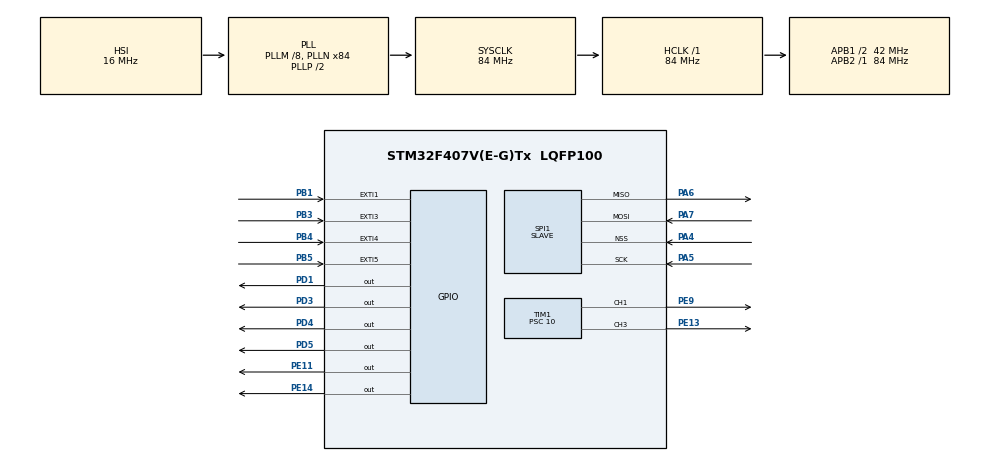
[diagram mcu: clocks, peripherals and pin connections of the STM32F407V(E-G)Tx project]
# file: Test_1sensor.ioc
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Dma.Request0=SPI1_RX
Dma.SPI1_RX.0.Direction=DMA_PERIPH_TO_MEMORY
Dma.SPI1_RX.0.FIFOMode=DMA_FIFOMODE_DISABLE
Dma.SPI1_RX.0.Instance=DMA2_Stream0
Dma.SPI1_RX.0.MemDataAlignment=DMA_MDATAALIGN_BYTE
Dma.SPI1_RX.0.MemInc=DMA_MINC_ENABLE
Dma.SPI1_RX.0.Mode=DMA_CIRCULAR
Dma.SPI1_RX.0.PeriphDataAlignment=DMA_PDATAALIGN_BYTE
Dma.SPI1_RX.0.PeriphInc=DMA_PINC_DISABLE
Dma.SPI1_RX.0.Priority=DMA_PRIORITY_LOW
Mcu.Family=STM32F4
Mcu.Name=STM32F407V(E-G)Tx
Mcu.Package=LQFP100
NVIC.DMA2_Stream0_IRQn=true\:0\:0\:false\:false\:true\:false\:true
NVIC.EXTI1_IRQn=true\:0\:0\:false\:false\:true\:true\:true
NVIC.EXTI3_IRQn=true\:0\:0\:false\:false\:true\:true\:true
NVIC.EXTI4_IRQn=true\:0\:0\:false\:false\:true\:true\:true
NVIC.EXTI9_5_IRQn=true\:0\:0\:false\:false\:true\:true\:true
NVIC.PriorityGroup=NVIC_PRIORITYGROUP_4
NVIC.SPI1_IRQn=true\:0\:0\:false\:false\:true\:true\:true
NVIC.TIM2_IRQn=true\:0\:0\:false\:false\:true\:true\:true
NVIC.TIM3_IRQn=true\:0\:0\:false\:false\:true\:true\:true
NVIC.TIM4_IRQn=true\:0\:0\:false\:false\:true\:true\:true
PA13.Mode=Serial_Wire
PA13.Signal=SYS_JTMS-SWDIO
PA14.Mode=Serial_Wire
PA14.Signal=SYS_JTCK-SWCLK
PA4.Mode=NSS_Signal_Hard_Input
PA4.Signal=SPI1_NSS
PA5.Mode=Full_Duplex_Slave
PA5.Signal=SPI1_SCK
PA6.Mode=Full_Duplex_Slave
PA6.Signal=SPI1_MISO
PA7.Mode=Full_Duplex_Slave
PA7.Signal=SPI1_MOSI
PB1.GPIO_ModeDefaultEXTI=GPIO_MODE_IT_RISING_FALLING
PB1.Signal=GPXTI1
PB3.GPIO_ModeDefaultEXTI=GPIO_MODE_IT_RISING_FALLING
PB3.Signal=GPXTI3
PB4.GPIO_ModeDefaultEXTI=GPIO_MODE_IT_RISING_FALLING
PB4.Signal=GPXTI4
PB5.GPIO_ModeDefaultEXTI=GPIO_MODE_IT_RISING_FALLING
PB5.Signal=GPXTI5
PD1.Signal=GPIO_Output
PD3.Signal=GPIO_Output
PD4.Signal=GPIO_Output
PD5.Signal=GPIO_Output
PE11.Signal=GPIO_Output
PE13.Signal=S_TIM1_CH3
PE14.Signal=GPIO_Output
PE9.Signal=S_TIM1_CH1
ProjectManager.HeapSize=0x200
ProjectManager.StackSize=0x400
ProjectManager.TargetToolchain=MDK-ARM V5
RCC.48MHZClocksFreq_Value=42000000
RCC.AHBFreq_Value=84000000
RCC.APB1CLKDivider=RCC_HCLK_DIV2
RCC.APB1Freq_Value=42000000
RCC.APB1TimFreq_Value=84000000
RCC.APB2Freq_Value=84000000
RCC.APB2TimFreq_Value=84000000
RCC.CortexFreq_Value=84000000
RCC.HCLKFreq_Value=84000000
RCC.HSE_VALUE=25000000
RCC.HSI_VALUE=16000000
RCC.LSE_VALUE=32768
RCC.PLLM=8
RCC.PLLN=84
RCC.SYSCLKFreq_VALUE=84000000
RCC.SYSCLKSource=RCC_SYSCLKSOURCE_PLLCLK
RCC.VCOOutputFreq_Value=168000000
SH.S_TIM1_CH1.0=TIM1_CH1,PWM Generation1 CH1
SH.S_TIM1_CH3.0=TIM1_CH3,PWM Generation3 CH3
SPI1.Direction=SPI_DIRECTION_2LINES
SPI1.Mode=SPI_MODE_SLAVE
SPI1.VirtualNSS=VM_NSSHARD
SPI1.VirtualType=VM_SLAVE
TIM1.Channel-PWM\ Generation1\ CH1=TIM_CHANNEL_1
TIM1.Channel-PWM\ Generation3\ CH3=TIM_CHANNEL_3
TIM1.Period=399
TIM1.Prescaler=10
TIM2.Period=19
TIM2.Prescaler=41
TIM3.Period=999
TIM3.Prescaler=8399
TIM4.Period=1
TIM4.Prescaler=41
VP_TIM1_VS_ClockSourceINT.Mode=Internal
VP_TIM2_VS_ClockSourceINT.Mode=Internal
VP_TIM3_VS_ClockSourceINT.Mode=Internal
VP_TIM4_VS_ClockSourceINT.Mode=Internal
board=custom

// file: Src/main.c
/* USER CODE BEGIN Header */
/**
  ******************************************************************************
  * @file           : main.c
  * @brief          : Main program body
  ******************************************************************************
  * @attention
  *
  * <h2><center>&copy; Copyright (c) 2019 STMicroelectronics.
  * All rights reserved.</center></h2>
  *
  * This software component is licensed by ST under BSD 3-Clause license,
  * the "License"; You may not use this file except in compliance with the
  * License. You may obtain a copy of the License at:
  *                        opensource.org/licenses/BSD-3-Clause
  *
  ******************************************************************************
  */
/* USER CODE END Header */

#include "main.h"

SPI_HandleTypeDef hspi1;
DMA_HandleTypeDef hdma_spi1_rx;

TIM_HandleTypeDef htim1;
TIM_HandleTypeDef htim2;
TIM_HandleTypeDef htim3;
TIM_HandleTypeDef htim4;

/* USER CODE BEGIN PV */
volatile unsigned int time_sensor1=0, time_sensor2=0, time_sensor3=0, time_sensor4=0; //timer for echo pulse from sensors
volatile unsigned int echo_sensor1=0, echo_sensor2=0, echo_sensor3=0, echo_sensor4=0;
volatile unsigned int en_sensor1=0, en_sensor2=0, en_sensor3=0, en_sensor4=0;
volatile float distance1=0, distance2=0, distance3=0, distance4=0;
volatile float alpha=0;
volatile double current_speed_left=0, current_speed_right=0;
unsigned int TIM_Period=399;
unsigned int upper_limit_sensor=1;
volatile unsigned int count_spin=0,count_lost=0,count_track=0;
volatile int error_Position=0,error_Distance=0;
uint8_t receivebuffer[7],isTracking;
volatile int pwm_L=0,pwm_R=0;

/* USER CODE END PV */

void SystemClock_Config(void);
static void MX_GPIO_Init(void);
static void MX_DMA_Init(void);
static void MX_TIM2_Init(void);
static void MX_TIM3_Init(void);
static void MX_TIM4_Init(void);
static void MX_SPI1_Init(void);
static void MX_TIM1_Init(void);
/* USER CODE BEGIN PFP */
//Fuzzy--------------------------------------------------------------------------
double mftrap(double x,double L,double C1, double C2, double R){
	double y;
	if (x<L)
		y=0;
	else if (x<C1)
		y=(x-L)/(C1-L);
	else if (x<C2)
		y=1;
	else if (x<R)
		y=(R-x)/(R-C2);
	else
		y=0;
	return y;
}

double max(double num1, double num2)
{
    return (num1 > num2 ) ? num1 : num2;
}

//Motor Value--------------------------------------------------------------------
//Left Motor
double Defuzzification_Obstacle_L(double alpha,double v)
{
	double alpha_NB,alpha_NS,alpha_ZE,alpha_PS,alpha_PB,v_LO,v_ME,v_HI;
	alpha_NB=mftrap(alpha,-60,-60,-40,-15);
	alpha_NS=mftrap(alpha,-40,-15,-15,0);
	alpha_ZE=mftrap(alpha,-15,0,0,15);
	alpha_PS=mftrap(alpha,0,15,15,40);
	alpha_PB=mftrap(alpha,15,40,60,60);

	v_LO=mftrap(v,-100,-100,60,75);
	v_ME=mftrap(v,60,75,75,90);
	v_HI=mftrap(v,75,90,100,100);

	double dv_NB=-180;
	double dv_NM=-110;
	double dv_NS=-40;
	double dv_ZE=0;
	double dv_PS=20;
	double dv_PM=70;
	double dv_PB=120;

	//RULES
	double beta1=alpha_NB*v_LO; //PB
	double beta2=alpha_NB*v_ME; //PM
	double beta3=alpha_NB*v_HI; //PS
	double beta4=alpha_NS*v_LO; //PM
	double beta5=alpha_NS*v_ME; //PS
	double beta6=alpha_NS*v_HI; //ZE
	double beta7=alpha_ZE*v_LO; //PS
	double beta8=alpha_ZE*v_ME; //ZE
	double beta9=alpha_ZE*v_HI; //NS
	double beta10=alpha_PS*v_LO; //ZE
	double beta11=alpha_PS*v_ME; //NS
	double beta12=alpha_PS*v_HI; //NM
	double beta13=alpha_PB*v_LO; //NS
	double beta14=alpha_PB*v_ME; //NM
	double beta15=alpha_PB*v_HI; //NB

	double beta_PB=beta1;
	double beta_PM=max(beta2,beta4);
	double beta_PS=max(max(beta3,beta5),beta7);
	double beta_ZE=max(max(beta6,beta8),beta10);
	double beta_NS=max(max(beta9,beta11),beta13);
	double beta_NM=max(beta12,beta14);
	double beta_NB=beta15;

	double sumBeta=beta_NB+beta_NM+beta_NS+beta_ZE+beta_PS+beta_PM+beta_PB;
	double dv=(dv_NB*beta_NB+dv_NM*beta_NM+dv_NS*beta_NS+dv_ZE*beta_ZE+dv_PS*beta_PS+dv_PM*beta_PB+dv_PB*beta_PB)/sumBeta;
	return dv;
}

double Defuzzification_Track_L(double ePosition,double eDistance)
{
	double eP_NB,eP_NS,eP_ZE,eP_PS,eP_PB,eD_NE,eD_ZE,eD_PO;
//	eP_NB=mftrap(ePosition,-180,-180,-100,-50);
//	eP_NS=mftrap(ePosition,-100,-50,-50,0);
//	eP_ZE=mftrap(ePosition,-50,0,0,50);
//	eP_PS=mftrap(ePosition,0,50,50,100);
//	eP_PB=mftrap(ePosition,50,100,180,180);

	eP_NB=mftrap(ePosition,-180,-180,-150,-120);
	eP_NS=mftrap(ePosition,-150,-120,-120,0);
	eP_ZE=mftrap(ePosition,-120,0,0,120);
	eP_PS=mftrap(ePosition,0,120,120,150);
	eP_PB=mftrap(ePosition,120,150,180,180);

	eD_NE=mftrap(eDistance,-100,-100,-50,0);
	eD_ZE=mftrap(eDistance,-50,0,0,50);
	eD_PO=mftrap(eDistance,0,50,100,100);

	double dv_NB=-3;
	double dv_NM=-2;
	double dv_NS=-1;
	double dv_ZE=0;
	double dv_PS=5;
	double dv_PM=10;
	double dv_PB=15;

	//RULES
	double beta1=eP_NB*eD_NE; //PB
	double beta2=eP_NB*eD_ZE; //PM
	double beta3=eP_NB*eD_PO; //PS
	double beta4=eP_NS*eD_NE; //PM
	double beta5=eP_NS*eD_ZE; //PS
	double beta6=eP_NS*eD_PO; //ZE
	double beta7=eP_ZE*eD_NE; //PS
	double beta8=eP_ZE*eD_ZE; //ZE
	double beta9=eP_ZE*eD_PO; //NS
	double beta10=eP_PS*eD_NE; //ZE
	double beta11=eP_PS*eD_ZE; //NS
	double beta12=eP_PS*eD_PO; //NM
	double beta13=eP_PB*eD_NE; //NS
	double beta14=eP_PB*eD_ZE; //NM
	double beta15=eP_PB*eD_PO; //NB

	double beta_PB=beta1;
	double beta_PM=max(beta2,beta4);
	double beta_PS=max(max(beta3,beta5),beta7);
	double beta_ZE=max(max(beta6,beta8),beta10);
	double beta_NS=max(max(beta9,beta11),beta13);
	double beta_NM=max(beta12,beta14);
	double beta_NB=beta15;

	double sumBeta=beta_NB+beta_NM+beta_NS+beta_ZE+beta_PS+beta_PM+beta_PB;
	double dv=(dv_NB*beta_NB+dv_NM*beta_NM+dv_NS*beta_NS+dv_ZE*beta_ZE+dv_PS*beta_PS+dv_PM*beta_PB+dv_PB*beta_PB)/sumBeta;
	return dv;
}

//Right Motor
double Defuzzification_Obstacle_R(double alpha,double v)
{
	double alpha_NB,alpha_NS,alpha_ZE,alpha_PS,alpha_PB,v_LO,v_ME,v_HI;
	alpha_NB=mftrap(alpha,-60,-60,-40,-15);
	alpha_NS=mftrap(alpha,-40,-15,-15,0);
	alpha_ZE=mftrap(alpha,-15,0,0,15);
	alpha_PS=mftrap(alpha,0,15,15,40);
	alpha_PB=mftrap(alpha,15,40,60,60);

	v_LO=mftrap(v,-100,-100,60,75);
	v_ME=mftrap(v,60,75,75,90);
	v_HI=mftrap(v,75,90,100,100);

	double dv_NB=-180;
	double dv_NM=-110;
	double dv_NS=-40;
	double dv_ZE=0;
	double dv_PS=20;
	double dv_PM=70;
	double dv_PB=120;

	//RULES
	double beta1=alpha_NB*v_LO; //NS
	double beta2=alpha_NB*v_ME; //NM
	double beta3=alpha_NB*v_HI; //NB
	double beta4=alpha_NS*v_LO; //ZE
	double beta5=alpha_NS*v_ME; //NS
	double beta6=alpha_NS*v_HI; //NM
	double beta7=alpha_ZE*v_LO; //PS
	double beta8=alpha_ZE*v_ME; //ZE
	double beta9=alpha_ZE*v_HI; //NS
	double beta10=alpha_PS*v_LO; //PM
	double beta11=alpha_PS*v_ME; //PS
	double beta12=alpha_PS*v_HI; //ZE
	double beta13=alpha_PB*v_LO; //PB
	double beta14=alpha_PB*v_ME; //PM
	double beta15=alpha_PB*v_HI; //PS

	double beta_PB=beta13;
	double beta_PM=max(beta10,beta14);
	double beta_PS=max(max(beta7,beta11),beta15);
	double beta_ZE=max(max(beta4,beta8),beta12);
	double beta_NS=max(max(beta1,beta5),beta9);
	double beta_NM=max(beta2,beta6);
	double beta_NB=beta3;

	double sumBeta=beta_NB+beta_NM+beta_NS+beta_ZE+beta_PS+beta_PM+beta_PB;
	double dv=(dv_NB*beta_NB+dv_NM*beta_NM+dv_NS*beta_NS+dv_ZE*beta_ZE+dv_PS*beta_PS+dv_PM*beta_PB+dv_PB*beta_PB)/sumBeta;
	return dv;
}
double Defuzzification_Track_R(double ePosition,double eDistance)
{
	double eP_NB,eP_NS,eP_ZE,eP_PS,eP_PB,eD_NE,eD_ZE,eD_PO;
	eP_NB=mftrap(ePosition,-180,-180,-150,-120);
	eP_NS=mftrap(ePosition,-150,-120,-120,0);
	eP_ZE=mftrap(ePosition,-120,0,0,120);
	eP_PS=mftrap(ePosition,0,120,120,150);
	eP_PB=mftrap(ePosition,120,150,180,180);

	eD_NE=mftrap(eDistance,-100,-100,-50,0);
	eD_ZE=mftrap(eDistance,-50,0,0,50);
	eD_PO=mftrap(eDistance,0,50,100,100);

	//work for 1 scale:{
//	double dv_NB=-12;
//	double dv_NM=-8;
//	double dv_NS=-4;
//	double dv_ZE=0;
//	double dv_PS=5;
//	double dv_PM=10;
//	double dv_PB=15;}

	double dv_NB=-3;
	double dv_NM=-2;
	double dv_NS=-1;
	double dv_ZE=0;
	double dv_PS=5;
	double dv_PM=10;
	double dv_PB=15;

	//RULES
	double beta1=eP_NB*eD_NE; //NS
	double beta2=eP_NB*eD_ZE; //NM
	double beta3=eP_NB*eD_PO; //NB
	double beta4=eP_NS*eD_NE; //ZE
	double beta5=eP_NS*eD_ZE; //NS
	double beta6=eP_NS*eD_PO; //NM
	double beta7=eP_ZE*eD_NE; //PS
	double beta8=eP_ZE*eD_ZE; //ZE
	double beta9=eP_ZE*eD_PO; //NS
	double beta10=eP_PS*eD_NE; //PM
	double beta11=eP_PS*eD_ZE; //PS
	double beta12=eP_PS*eD_PO; //ZE
	double beta13=eP_PB*eD_NE; //PB
	double beta14=eP_PB*eD_ZE; //PM
	double beta15=eP_PB*eD_PO; //PS

	double beta_PB=beta13;
	double beta_PM=max(beta10,beta14);
	double beta_PS=max(max(beta7,beta11),beta15);
	double beta_ZE=max(max(beta4,beta8),beta12);
	double beta_NS=max(max(beta1,beta5),beta9);
	double beta_NM=max(beta2,beta6);
	double beta_NB=beta3;

	double sumBeta=beta_NB+beta_NM+beta_NS+beta_ZE+beta_PS+beta_PM+beta_PB;
	double dv=(dv_NB*beta_NB+dv_NM*beta_NM+dv_NS*beta_NS+dv_ZE*beta_ZE+dv_PS*beta_PS+dv_PM*beta_PB+dv_PB*beta_PB)/sumBeta;
	return dv;
}

//Ham xuat % dong co-------------------------------------------------------------
void SetPWM_withDutyCycle(TIM_HandleTypeDef *htim, uint32_t Channel, int dutyCycle){
	/*This function allow to Write PWM in duty cycle with timer and channel parameters*/
	int32_t pulse_length = TIM_Period*dutyCycle/100;	//range: 250 - 400
	__HAL_TIM_SET_COMPARE(htim, Channel, pulse_length);
};
void SetPWM_Forward_Backward(int value, uint16_t rightmotor)
{
	if (rightmotor==1)
	{
		if (value>=0)
		{
			SetPWM_withDutyCycle(&htim1,TIM_CHANNEL_1,value);
			HAL_GPIO_WritePin(GPIOE,GPIO_PIN_11,0);
		}
		if (value<0)
		{
			SetPWM_withDutyCycle(&htim1,TIM_CHANNEL_1,-value);
			HAL_GPIO_WritePin(GPIOE,GPIO_PIN_11,1);
		}
	}
	else
	{
		if (value>=0)
		{
			SetPWM_withDutyCycle(&htim1,TIM_CHANNEL_3,value);
			HAL_GPIO_WritePin(GPIOE,GPIO_PIN_14,0);
		}
		if (value<0)
		{
			SetPWM_withDutyCycle(&htim1,TIM_CHANNEL_3,-value);
			HAL_GPIO_WritePin(GPIOE,GPIO_PIN_14,1);
		}
	}
}
int scale(int x)
{
//	if (x>0) return (int)((35*x+6500)/100);
//	else return (int)((35*x-6500)/100);
	return (int)((35*x+6500)/100);
}

/* USER CODE END PFP */

int main(void)
{

  /* MCU Configuration--------------------------------------------------------*/

  /* Reset of all peripherals, Initializes the Flash interface and the Systick. */
  HAL_Init();

  /* Configure the system clock */
  SystemClock_Config();

  /* Initialize all configured peripherals */
  MX_GPIO_Init();
  MX_DMA_Init();
  MX_TIM2_Init();
  MX_TIM3_Init();
  MX_TIM4_Init();
  MX_SPI1_Init();
  MX_TIM1_Init();
  /* USER CODE BEGIN 2 */
	HAL_TIM_PWM_Start_IT(&htim1,TIM_CHANNEL_1);
	HAL_TIM_PWM_Start_IT(&htim1,TIM_CHANNEL_3);
	HAL_TIM_Base_Start_IT(&htim3);
	HAL_TIM_Base_Start_IT(&htim4);
	SetPWM_Forward_Backward((int)0,0);
	SetPWM_Forward_Backward((int)0,1);

  /* USER CODE END 2 */

  /* Infinite loop */
  while (1)
  {

  }
}

void SystemClock_Config(void)
{
  RCC_OscInitTypeDef RCC_OscInitStruct = {0};
  RCC_ClkInitTypeDef RCC_ClkInitStruct = {0};

  /** Configure the main internal regulator output voltage
  */
  __HAL_RCC_PWR_CLK_ENABLE();
  __HAL_PWR_VOLTAGESCALING_CONFIG(PWR_REGULATOR_VOLTAGE_SCALE1);
  /** Initializes the CPU, AHB and APB busses clocks
  */
  RCC_OscInitStruct.OscillatorType = RCC_OSCILLATORTYPE_HSI;
  RCC_OscInitStruct.HSIState = RCC_HSI_ON;
  RCC_OscInitStruct.HSICalibrationValue = RCC_HSICALIBRATION_DEFAULT;
  RCC_OscInitStruct.PLL.PLLState = RCC_PLL_ON;
  RCC_OscInitStruct.PLL.PLLSource = RCC_PLLSOURCE_HSI;
  RCC_OscInitStruct.PLL.PLLM = 8;
  RCC_OscInitStruct.PLL.PLLN = 84;
  RCC_OscInitStruct.PLL.PLLP = RCC_PLLP_DIV2;
  RCC_OscInitStruct.PLL.PLLQ = 4;
  if (HAL_RCC_OscConfig(&RCC_OscInitStruct) != HAL_OK)
  {
    Error_Handler();
  }
  /** Initializes the CPU, AHB and APB busses clocks
  */
  RCC_ClkInitStruct.ClockType = RCC_CLOCKTYPE_HCLK|RCC_CLOCKTYPE_SYSCLK
                              |RCC_CLOCKTYPE_PCLK1|RCC_CLOCKTYPE_PCLK2;
  RCC_ClkInitStruct.SYSCLKSource = RCC_SYSCLKSOURCE_PLLCLK;
  RCC_ClkInitStruct.AHBCLKDivider = RCC_SYSCLK_DIV1;
  RCC_ClkInitStruct.APB1CLKDivider = RCC_HCLK_DIV2;
  RCC_ClkInitStruct.APB2CLKDivider = RCC_HCLK_DIV1;

  if (HAL_RCC_ClockConfig(&RCC_ClkInitStruct, FLASH_LATENCY_2) != HAL_OK)
  {
    Error_Handler();
  }
}

static void MX_SPI1_Init(void)
{

  /* SPI1 parameter configuration*/
  hspi1.Instance = SPI1;
  hspi1.Init.Mode = SPI_MODE_SLAVE;
  hspi1.Init.Direction = SPI_DIRECTION_2LINES;
  hspi1.Init.DataSize = SPI_DATASIZE_8BIT;
  hspi1.Init.CLKPolarity = SPI_POLARITY_LOW;
  hspi1.Init.CLKPhase = SPI_PHASE_1EDGE;
  hspi1.Init.NSS = SPI_NSS_HARD_INPUT;
  hspi1.Init.FirstBit = SPI_FIRSTBIT_MSB;
  hspi1.Init.TIMode = SPI_TIMODE_DISABLE;
  hspi1.Init.CRCCalculation = SPI_CRCCALCULATION_DISABLE;
  hspi1.Init.CRCPolynomial = 10;
  if (HAL_SPI_Init(&hspi1) != HAL_OK)
  {
    Error_Handler();
  }

}

static void MX_TIM1_Init(void)
{

  TIM_ClockConfigTypeDef sClockSourceConfig = {0};
  TIM_MasterConfigTypeDef sMasterConfig = {0};
  TIM_OC_InitTypeDef sConfigOC = {0};
  TIM_BreakDeadTimeConfigTypeDef sBreakDeadTimeConfig = {0};

  htim1.Instance = TIM1;
  htim1.Init.Prescaler = 10;
  htim1.Init.CounterMode = TIM_COUNTERMODE_UP;
  htim1.Init.Period = 399;
  htim1.Init.ClockDivision = TIM_CLOCKDIVISION_DIV1;
  htim1.Init.RepetitionCounter = 0;
  htim1.Init.AutoReloadPreload = TIM_AUTORELOAD_PRELOAD_DISABLE;
  if (HAL_TIM_Base_Init(&htim1) != HAL_OK)
  {
    Error_Handler();
  }
  sClockSourceConfig.ClockSource = TIM_CLOCKSOURCE_INTERNAL;
  if (HAL_TIM_ConfigClockSource(&htim1, &sClockSourceConfig) != HAL_OK)
  {
    Error_Handler();
  }
  if (HAL_TIM_PWM_Init(&htim1) != HAL_OK)
  {
    Error_Handler();
  }
  sMasterConfig.MasterOutputTrigger = TIM_TRGO_RESET;
  sMasterConfig.MasterSlaveMode = TIM_MASTERSLAVEMODE_DISABLE;
  if (HAL_TIMEx_MasterConfigSynchronization(&htim1, &sMasterConfig) != HAL_OK)
  {
    Error_Handler();
  }
  sConfigOC.OCMode = TIM_OCMODE_PWM1;
  sConfigOC.Pulse = 0;
  sConfigOC.OCPolarity = TIM_OCPOLARITY_HIGH;
  sConfigOC.OCNPolarity = TIM_OCNPOLARITY_HIGH;
  sConfigOC.OCFastMode = TIM_OCFAST_DISABLE;
  sConfigOC.OCIdleState = TIM_OCIDLESTATE_RESET;
  sConfigOC.OCNIdleState = TIM_OCNIDLESTATE_RESET;
  if (HAL_TIM_PWM_ConfigChannel(&htim1, &sConfigOC, TIM_CHANNEL_1) != HAL_OK)
  {
    Error_Handler();
  }
  if (HAL_TIM_PWM_ConfigChannel(&htim1, &sConfigOC, TIM_CHANNEL_3) != HAL_OK)
  {
    Error_Handler();
  }
  sBreakDeadTimeConfig.OffStateRunMode = TIM_OSSR_DISABLE;
  sBreakDeadTimeConfig.OffStateIDLEMode = TIM_OSSI_DISABLE;
  sBreakDeadTimeConfig.LockLevel = TIM_LOCKLEVEL_OFF;
  sBreakDeadTimeConfig.DeadTime = 0;
  sBreakDeadTimeConfig.BreakState = TIM_BREAK_DISABLE;
  sBreakDeadTimeConfig.BreakPolarity = TIM_BREAKPOLARITY_HIGH;
  sBreakDeadTimeConfig.AutomaticOutput = TIM_AUTOMATICOUTPUT_DISABLE;
  if (HAL_TIMEx_ConfigBreakDeadTime(&htim1, &sBreakDeadTimeConfig) != HAL_OK)
  {
    Error_Handler();
  }
  HAL_TIM_MspPostInit(&htim1);

}

static void MX_TIM2_Init(void)
{

  TIM_ClockConfigTypeDef sClockSourceConfig = {0};
  TIM_MasterConfigTypeDef sMasterConfig = {0};

  htim2.Instance = TIM2;
  htim2.Init.Prescaler = 41;
  htim2.Init.CounterMode = TIM_COUNTERMODE_UP;
  htim2.Init.Period = 19;
  htim2.Init.ClockDivision = TIM_CLOCKDIVISION_DIV1;
  htim2.Init.AutoReloadPreload = TIM_AUTORELOAD_PRELOAD_DISABLE;
  if (HAL_TIM_Base_Init(&htim2) != HAL_OK)
  {
    Error_Handler();
  }
  sClockSourceConfig.ClockSource = TIM_CLOCKSOURCE_INTERNAL;
  if (HAL_TIM_ConfigClockSource(&htim2, &sClockSourceConfig) != HAL_OK)
  {
    Error_Handler();
  }
  sMasterConfig.MasterOutputTrigger = TIM_TRGO_RESET;
  sMasterConfig.MasterSlaveMode = TIM_MASTERSLAVEMODE_DISABLE;
  if (HAL_TIMEx_MasterConfigSynchronization(&htim2, &sMasterConfig) != HAL_OK)
  {
    Error_Handler();
  }

}

static void MX_TIM3_Init(void)
{

  TIM_ClockConfigTypeDef sClockSourceConfig = {0};
  TIM_MasterConfigTypeDef sMasterConfig = {0};

  htim3.Instance = TIM3;
  htim3.Init.Prescaler = 8399;
  htim3.Init.CounterMode = TIM_COUNTERMODE_UP;
  htim3.Init.Period = 999;
  htim3.Init.ClockDivision = TIM_CLOCKDIVISION_DIV1;
  htim3.Init.AutoReloadPreload = TIM_AUTORELOAD_PRELOAD_DISABLE;
  if (HAL_TIM_Base_Init(&htim3) != HAL_OK)
  {
    Error_Handler();
  }
  sClockSourceConfig.ClockSource = TIM_CLOCKSOURCE_INTERNAL;
  if (HAL_TIM_ConfigClockSource(&htim3, &sClockSourceConfig) != HAL_OK)
  {
    Error_Handler();
  }
  sMasterConfig.MasterOutputTrigger = TIM_TRGO_RESET;
  sMasterConfig.MasterSlaveMode = TIM_MASTERSLAVEMODE_DISABLE;
  if (HAL_TIMEx_MasterConfigSynchronization(&htim3, &sMasterConfig) != HAL_OK)
  {
    Error_Handler();
  }

}

static void MX_TIM4_Init(void)
{

  TIM_ClockConfigTypeDef sClockSourceConfig = {0};
  TIM_MasterConfigTypeDef sMasterConfig = {0};

  htim4.Instance = TIM4;
  htim4.Init.Prescaler = 41;
  htim4.Init.CounterMode = TIM_COUNTERMODE_UP;
  htim4.Init.Period = 1;
  htim4.Init.ClockDivision = TIM_CLOCKDIVISION_DIV1;
  htim4.Init.AutoReloadPreload = TIM_AUTORELOAD_PRELOAD_DISABLE;
  if (HAL_TIM_Base_Init(&htim4) != HAL_OK)
  {
    Error_Handler();
  }
  sClockSourceConfig.ClockSource = TIM_CLOCKSOURCE_INTERNAL;
  if (HAL_TIM_ConfigClockSource(&htim4, &sClockSourceConfig) != HAL_OK)
  {
    Error_Handler();
  }
  sMasterConfig.MasterOutputTrigger = TIM_TRGO_RESET;
  sMasterConfig.MasterSlaveMode = TIM_MASTERSLAVEMODE_DISABLE;
  if (HAL_TIMEx_MasterConfigSynchronization(&htim4, &sMasterConfig) != HAL_OK)
  {
    Error_Handler();
  }

}

static void MX_DMA_Init(void)
{
  /* DMA controller clock enable */
  __HAL_RCC_DMA2_CLK_ENABLE();

  /* DMA interrupt init */
  /* DMA2_Stream0_IRQn interrupt configuration */
  HAL_NVIC_SetPriority(DMA2_Stream0_IRQn, 0, 0);
  HAL_NVIC_EnableIRQ(DMA2_Stream0_IRQn);

}

static void MX_GPIO_Init(void)
{
  GPIO_InitTypeDef GPIO_InitStruct = {0};

  /* GPIO Ports Clock Enable */
  __HAL_RCC_GPIOA_CLK_ENABLE();
  __HAL_RCC_GPIOB_CLK_ENABLE();
  __HAL_RCC_GPIOE_CLK_ENABLE();
  __HAL_RCC_GPIOD_CLK_ENABLE();

  /*Configure GPIO pin Output Level */
  HAL_GPIO_WritePin(GPIOE, GPIO_PIN_11|GPIO_PIN_14, GPIO_PIN_RESET);

  /*Configure GPIO pin Output Level */
  HAL_GPIO_WritePin(GPIOD, GPIO_PIN_1|GPIO_PIN_3|GPIO_PIN_4|GPIO_PIN_5, GPIO_PIN_RESET);

  /*Configure GPIO pins : PB1 PB3 PB4 PB5 */
  GPIO_InitStruct.Pin = GPIO_PIN_1|GPIO_PIN_3|GPIO_PIN_4|GPIO_PIN_5;
  GPIO_InitStruct.Mode = GPIO_MODE_IT_RISING_FALLING;
  GPIO_InitStruct.Pull = GPIO_NOPULL;
  HAL_GPIO_Init(GPIOB, &GPIO_InitStruct);

  /*Configure GPIO pins : PE11 PE14 */
  GPIO_InitStruct.Pin = GPIO_PIN_11|GPIO_PIN_14;
  GPIO_InitStruct.Mode = GPIO_MODE_OUTPUT_PP;
  GPIO_InitStruct.Pull = GPIO_NOPULL;
  GPIO_InitStruct.Speed = GPIO_SPEED_FREQ_LOW;
  HAL_GPIO_Init(GPIOE, &GPIO_InitStruct);

  /*Configure GPIO pins : PD1 PD3 PD4 PD5 */
  GPIO_InitStruct.Pin = GPIO_PIN_1|GPIO_PIN_3|GPIO_PIN_4|GPIO_PIN_5;
  GPIO_InitStruct.Mode = GPIO_MODE_OUTPUT_PP;
  GPIO_InitStruct.Pull = GPIO_NOPULL;
  GPIO_InitStruct.Speed = GPIO_SPEED_FREQ_LOW;
  HAL_GPIO_Init(GPIOD, &GPIO_InitStruct);

  /* EXTI interrupt init*/
  HAL_NVIC_SetPriority(EXTI1_IRQn, 0, 0);
  HAL_NVIC_EnableIRQ(EXTI1_IRQn);

  HAL_NVIC_SetPriority(EXTI3_IRQn, 0, 0);
  HAL_NVIC_EnableIRQ(EXTI3_IRQn);

  HAL_NVIC_SetPriority(EXTI4_IRQn, 0, 0);
  HAL_NVIC_EnableIRQ(EXTI4_IRQn);

  HAL_NVIC_SetPriority(EXTI9_5_IRQn, 0, 0);
  HAL_NVIC_EnableIRQ(EXTI9_5_IRQn);

}

/* USER CODE BEGIN 4 */
void HAL_TIM_PeriodElapsedCallback(TIM_HandleTypeDef *htim){
	if(htim->Instance==htim3.Instance)
	{
		//Set trigger signal
		HAL_GPIO_WritePin(GPIOD, GPIO_PIN_1,GPIO_PIN_SET);
		HAL_GPIO_WritePin(GPIOD, GPIO_PIN_3,GPIO_PIN_SET);
		HAL_GPIO_WritePin(GPIOD, GPIO_PIN_4,GPIO_PIN_SET);
		HAL_GPIO_WritePin(GPIOD, GPIO_PIN_5,GPIO_PIN_SET);
		HAL_TIM_Base_Start_IT(&htim2);

		//Get data from Raspberrry through SPI
		HAL_SPI_Receive_DMA(&hspi1,&receivebuffer[0],7);
		isTracking=receivebuffer[0];

		//if found its owner-----------------------------
		if (isTracking==1)
		{
			count_track++;
			count_lost=0;
			count_spin=0; //reset spin counter after lost

			error_Position= (int16_t)(((int16_t)receivebuffer[2]<<8)|(int16_t)receivebuffer[1]);
			error_Distance= (int16_t)(((int16_t)receivebuffer[4]<<8)|(int16_t)receivebuffer[3]);

			//Rest 1s after spin
			if (count_track>=10)
			{
				//Calculate distance
				distance1=echo_sensor1*0.0001*340/2;

				distance2=echo_sensor2*0.0001*340/2;
				distance3=echo_sensor3*0.0001*340/2;
				distance4=echo_sensor4*0.0001*340/2;

				if (distance4>60) distance4=distance1;
				//When there is no obstacle
				if (distance1>upper_limit_sensor && distance2>upper_limit_sensor+10 && distance3>upper_limit_sensor+10 && distance4>upper_limit_sensor)
				{
					alpha=0;
					current_speed_left=current_speed_left+Defuzzification_Track_L(error_Position,error_Distance);
					current_speed_right=current_speed_right+Defuzzification_Track_R(error_Position,error_Distance);
//					current_speed_left=scale(current_speed_left);
//					current_speed_right=scale(current_speed_right);
					pwm_L=scale(current_speed_left);
					pwm_R=scale(current_speed_right);
				}

				//When there is obstacle
				else
				{
					alpha=(-distance1*60-distance2*30+distance3*30+distance4*60)/(distance1+distance2+distance3+distance4);
					current_speed_left=current_speed_left+Defuzzification_Obstacle_L(alpha,current_speed_left);
					current_speed_right=current_speed_right+Defuzzification_Obstacle_R(alpha,current_speed_right);
					if (distance1>50 && distance2<upper_limit_sensor && distance3<upper_limit_sensor && distance4>50)
						alpha=60;
					pwm_L=current_speed_left;
					pwm_R=current_speed_right;
				}
				if (abs(error_Position)<10 && abs(error_Distance)<10)
				{
//					current_speed_left=0;
//					current_speed_right=0;
					pwm_L=0;
					pwm_R=0;
				}

				//Scale to range 0->99
//				if (current_speed_left>99) current_speed_left=99;
//				if (current_speed_left<-99) current_speed_left=-99;
//				if (current_speed_right>99) current_speed_right=99;
//				if (current_speed_right<-99) current_speed_right=-99;
				if (pwm_L>99) pwm_L=99;
				if (pwm_L<-99) pwm_L=-99;
				if (pwm_R>99) pwm_R=99;
				if (pwm_R<-99) pwm_R=-99;

				//Control 2 motors
				SetPWM_Forward_Backward((int)pwm_L,0);
				SetPWM_Forward_Backward((int)pwm_R,1);
			}
			else
			{
				SetPWM_Forward_Backward((int)0,0);
				SetPWM_Forward_Backward((int)0,1);
			}
		}

		//Cannot find its owner------------------------
		else
		{
			current_speed_left=0;
			current_speed_right=0;
			count_lost++;
			if (count_lost>=10)
			{
				count_spin++;

				if (count_spin>=200) //after spin 20s ->stop
				{
					SetPWM_Forward_Backward((int)0,0);
					SetPWM_Forward_Backward((int)0,1);
				}
				else
				{
					count_track=0;
					if (current_speed_left>current_speed_right) //after turn right -> spin left
					{
						SetPWM_Forward_Backward((int)-70,0);
						SetPWM_Forward_Backward((int)70,1);
					}
					else //after turn left -> spin right
					{
						SetPWM_Forward_Backward((int)70,0);
						SetPWM_Forward_Backward((int)-70,1);
					}
				}
			}
			else
			{
				SetPWM_Forward_Backward((int)0,0);
				SetPWM_Forward_Backward((int)0,1);
			}
		}
	}
}
/* USER CODE END 4 */

void Error_Handler(void)
{
}

/************************ (C) COPYRIGHT STMicroelectronics *****END OF FILE****/
